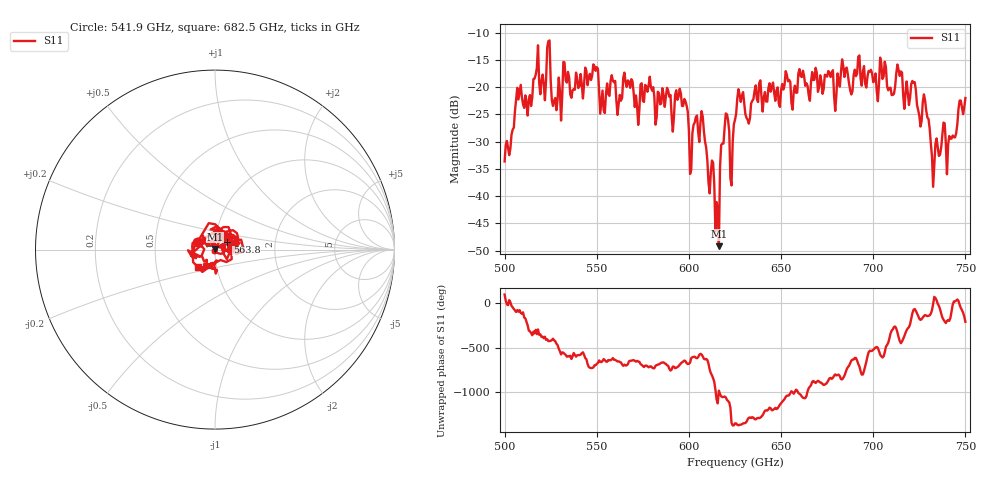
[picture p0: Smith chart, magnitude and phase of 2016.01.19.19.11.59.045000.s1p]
!Created with skrf (http://scikit-rf.org).
# GHz S RI R 50.0
!freq ReS11 ImS11
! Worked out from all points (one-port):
!   401 points, 500 GHz to 750 GHz, reference 50 ohm
!   lowest |S11| = -49.2 dB at 616.2 GHz (marker M1), VSWR 1.01, Z = 50 + j0.347 ohm
!   |S11| at or under -10 dB: start of sweep to end of sweep
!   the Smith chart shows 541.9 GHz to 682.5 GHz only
!   S11 on the Smith chart (normalised r, x): 541.9 GHz: 0.82, +0.07; 563.8 GHz: 1.14, +0.09; 682.5 GHz: 0.81, -0.16
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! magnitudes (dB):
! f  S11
! 500 GHz  -33.6
! 507.5 GHz  -22.2
! 513.8 GHz  -21.4
! 516.9 GHz  -17.7
! 531.2 GHz  -21.7
! 541.9 GHz  -19.5
! 549.4 GHz  -17.0
! 553.1 GHz  -20.6
! 558.8 GHz  -18.8
! 562.5 GHz  -21.4
! 563.8 GHz  -22.0
! 593.8 GHz  -22.3
! 601.2 GHz  -35.1
! 607.5 GHz  -25.4
! 615 GHz  -41.1
! 616.2 GHz  -49.2
! 619.4 GHz  -27.4
! 623.1 GHz  -38.0
! 625 GHz  -26.0
! 628.1 GHz  -22.7
! 656.2 GHz  -24.1
! 682.5 GHz  -17.2
! 687.5 GHz  -20.6
! 705 GHz  -18.5
! 718.8 GHz  -21.0
! 728.1 GHz  -22.4
! 732.5 GHz  -38.3
! 750 GHz  -22.0
